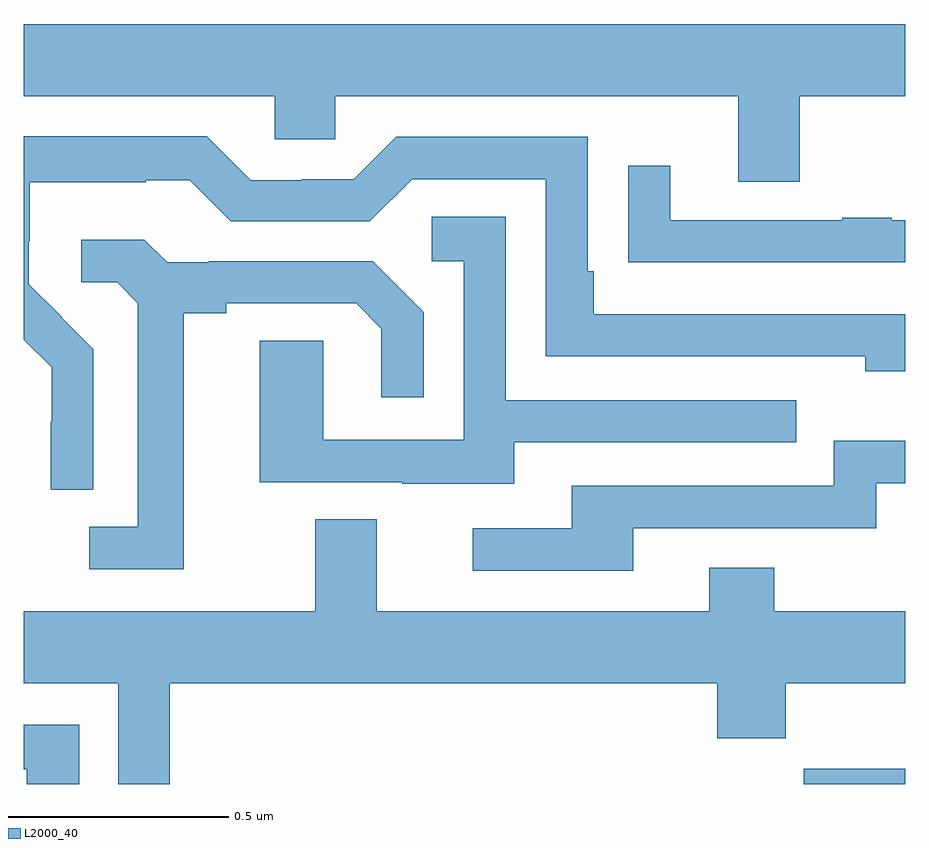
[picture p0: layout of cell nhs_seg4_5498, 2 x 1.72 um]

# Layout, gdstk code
import gdstk
lib = gdstk.Library(unit=1e-6, precision=1e-09)
def R(c, l, rs):  # rectangles x0, y0, x1, y1
    for r in rs: c.add(gdstk.rectangle(r[:2], r[2:], *l))
def P(c, l, *ps):  # polygons
    for p in ps: c.add(gdstk.Polygon(p, *l))
L2000_40 = (2000, 40)

nhs_seg4_5498 = lib.new_cell('nhs_seg4_5498')
R(nhs_seg4_5498, L2000_40, [(179.77,821.9,180,821.935)])
P(nhs_seg4_5498, L2000_40, [(179.761,823.46),(180,823.46),(180,823.624),(178,823.624),(178,823.46),(178.569,823.46),(178.569,823.362),(178.707,823.362),(178.707,823.46),(179.621,823.46),(179.621,823.266),(179.761,823.266)],
  [(178.158,822.886),(178.085,822.959),(178.086,822.96),(178.012,823.034),(178.012,823.131),(178.014,823.131),(178.014,823.265),(178.277,823.265),(178.277,823.269),(178.377,823.269),(178.47,823.176),(178.785,823.176),(178.881,823.272),(179.184,823.272),(179.184,822.87),(179.909,822.87),(179.909,822.836),(180,822.836),(180,822.966),(179.293,822.966),(179.293,823.063),(179.28,823.063),(179.28,823.368),(178.845,823.368),(178.749,823.272),(178.631,823.272),(178.631,823.269),(178.515,823.269),(178.415,823.369),(178,823.369),(178,822.908),(178.064,822.845),(178.064,822.722),(178.062,822.722),(178.062,822.568),(178.158,822.568)],
  [(180,823.179),(179.969,823.179),(179.969,823.184),(179.857,823.184),(179.857,823.179),(179.467,823.179),(179.467,823.303),(179.371,823.303),(179.371,823.084),(179.473,823.084),(179.473,823.083),(180,823.083)],
  [(179.113,822.675),(179.753,822.675),(179.753,822.771),(179.094,822.771),(179.094,823.187),(178.926,823.187),(178.926,823.086),(178.998,823.086),(178.998,822.681),(178.68,822.681),(178.68,822.905),(178.535,822.905),(178.535,822.585),(178.859,822.585),(178.859,822.581),(179.113,822.581)],
  [(178.363,822.968),(178.459,822.968),(178.459,822.99),(178.754,822.99),(178.811,822.933),(178.811,822.777),(178.908,822.777),(178.908,822.97),(178.792,823.086),(178.42,823.086),(178.42,823.083),(178.326,823.083),(178.274,823.135),(178.131,823.135),(178.131,823.038),(178.212,823.038),(178.259,822.991),(178.259,822.483),(178.149,822.483),(178.149,822.387),(178.363,822.387)],
  [(179.383,822.48),(179.934,822.48),(179.934,822.582),(180,822.582),(180,822.679),(179.838,822.679),(179.838,822.576),(179.243,822.576),(179.243,822.48),(179.019,822.48),(179.019,822.384),(179.383,822.384)],
  [(178.331,822.128),(179.573,822.128),(179.573,822.004),(179.729,822.004),(179.729,822.128),(180,822.128),(180,822.292),(179.703,822.292),(179.703,822.391),(179.555,822.391),(179.555,822.292),(178.801,822.292),(178.801,822.5),(178.661,822.5),(178.661,822.292),(178,822.292),(178,822.128),(178.215,822.128),(178.215,821.9),(178.331,821.9)],
  [(178.126,822.034),(178,822.034),(178,821.933),(178.007,821.933),(178.007,821.9),(178.126,821.9)])

lib.write_gds('nhs_seg4_5498.gds')
